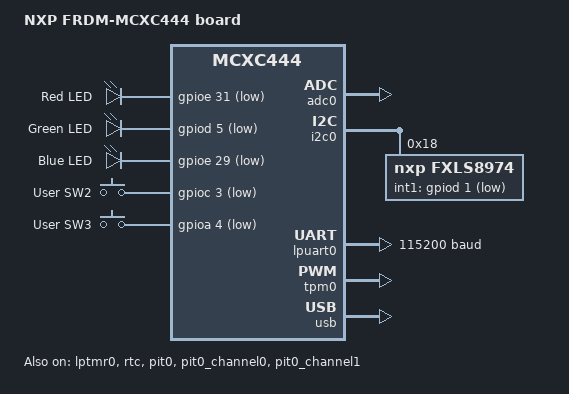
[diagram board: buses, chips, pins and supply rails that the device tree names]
/*
 * Copyright 2024 NXP
 *
 * SPDX-License-Identifier: Apache-2.0
 */

/dts-v1/;

#include <nxp/nxp_mcxc444.dtsi>
#include "frdm_mcxc444-pinctrl.dtsi"
#include <zephyr/dt-bindings/input/input-event-codes.h>

/ {
	model = "NXP FRDM-MCXC444 board";
	compatible = "nxp,mcxc444", "nxp,mcx";

	aliases {
		led0 = &red_led;
		led1 = &green_led;
		led2 = &blue_led;
		pwm-led0 = &red_pwm_led;
		pwm-led1 = &green_pwm_led;
		pwm-led2 = &blue_pwm_led;
		red-pwm-led = &red_pwm_led;
		green-pwm-led = &green_pwm_led;
		blue-pwm-led = &blue_pwm_led;
		sw0 = &user_button_2;
		sw1 = &user_button_3;
		accel0 = &fxls8974;
		pwm-0 = &tpm0;
	};

	chosen {
		zephyr,sram = &sram0;
		zephyr,flash = &flash0;
		zephyr,console = &lpuart0;
		zephyr,shell-uart = &lpuart0;
	};

	leds {
		compatible = "gpio-leds";
		red_led: led_0 {
			gpios = <&gpioe 31 GPIO_ACTIVE_LOW>;
			label = "Red LED";
		};
		green_led: led_1 {
			gpios = <&gpiod 5 GPIO_ACTIVE_LOW>;
			label = "Green LED";
		};
		blue_led: led_2 {
			gpios = <&gpioe 29 GPIO_ACTIVE_LOW>;
			label = "Blue LED";
		};
	};

	pwmleds {
		compatible = "pwm-leds";
		status = "disabled";
		red_pwm_led: pwm_led_0 {
			pwms = <&tpm0 4 PWM_MSEC(20) PWM_POLARITY_INVERTED>;
			label = "PWM Red LED";
		};
		green_pwm_led: pwm_led_1 {
			pwms = <&tpm0 5 PWM_MSEC(20) PWM_POLARITY_INVERTED>;
			label = "PWM Green LED";
		};
		blue_pwm_led: pwm_led_2 {
			pwms = <&tpm0 2 PWM_MSEC(20) PWM_POLARITY_INVERTED>;
			label = "PWM Blue LED";
		};
	};

	gpio_keys {
		compatible = "gpio-keys";
		user_button_2: button_2 {
			label = "User SW2";
			gpios = <&gpioc 3 GPIO_ACTIVE_LOW>;
			zephyr,code = <INPUT_KEY_0>;
		};
		user_button_3: button_3 {
			label = "User SW3";
			gpios = <&gpioa 4 GPIO_ACTIVE_LOW>;
			zephyr,code = <INPUT_KEY_1>;
		};
	};
};

&sim {
	pllfll-select = <KINETIS_SIM_PLLFLLSEL_MCGPLLCLK>;
	er32k-select = <KINETIS_SIM_ER32KSEL_OSC32KCLK>;
};

&cpu0 {
	clock-frequency = <48000000>;
};

&osc {
	clock-frequency = <32768>;
	mode = "low-power";
};

&gpioa {
	status = "okay";
};

&gpiob {
	status = "okay";
};

&gpioc {
	status = "okay";
};

&gpiod {
	status = "okay";
};

&gpioe {
	status = "okay";
};

&adc0 {
	status = "okay";
	pinctrl-0 = <&pinmux_adc0>;
	pinctrl-names = "default";
};

i2c0: &i2c0 {
	status = "okay";
	pinctrl-0 = <&pinmux_i2c0>;
	pinctrl-names = "default";

	fxls8974: fxls8974@18 {
		status = "okay";
		compatible = "nxp,fxls8974";
		reg = <0x18>;
		int1-gpios = <&gpiod 1 GPIO_ACTIVE_LOW>;
	};
};

&lpuart0 {
	status = "okay";
	current-speed = <115200>;
	pinctrl-0 = <&pinmux_lpuart0>;
	pinctrl-names = "default";
};

&lptmr0 {
	status = "okay";
};

&uart2 {
	status = "disabled";
	current-speed = <115200>;
	pinctrl-0 = <&pinmux_uart2>;
	pinctrl-names = "default";
};

&rtc {
	status = "okay";
};

&pit0 {
	status = "okay";
};

&pit0_channel0 {
	status = "okay";
};

&pit0_channel1 {
	status = "okay";
};

&tpm0 {
	status = "okay";
	pinctrl-0 = <&pinmux_tpm0>;
	pinctrl-names = "default";
	clocks = <&sim KINETIS_SIM_OSCERCLK 0x103C 24>;
};

zephyr_udc0: &usb {
	status = "okay";
	num-bidir-endpoints = <8>;
};
